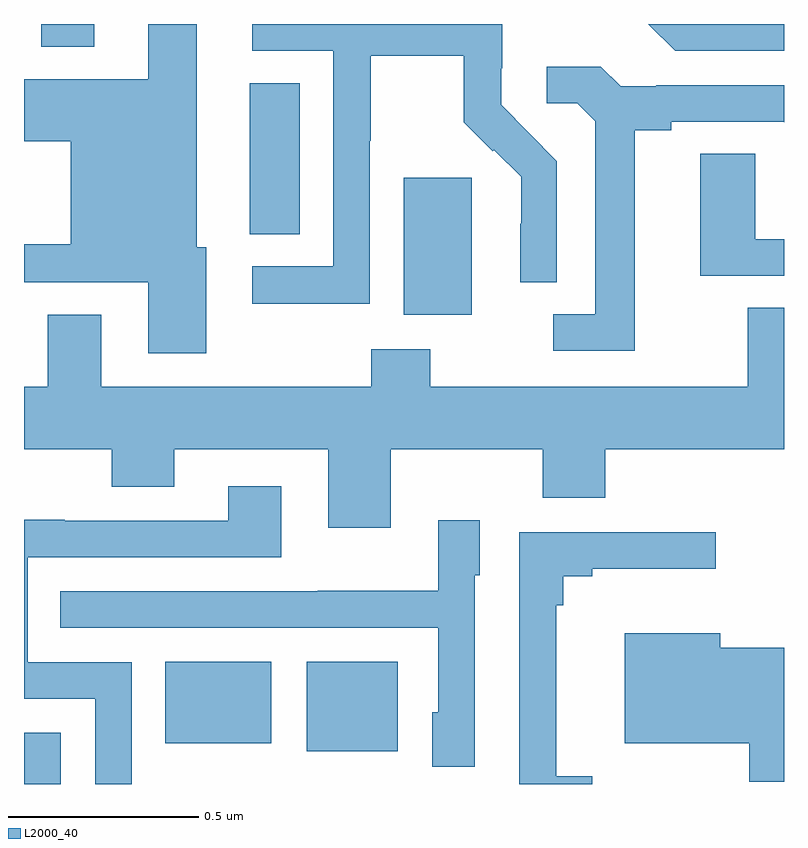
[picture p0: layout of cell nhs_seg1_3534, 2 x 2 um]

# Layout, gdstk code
import gdstk
lib = gdstk.Library(unit=1e-6, precision=1e-09)
def R(c, l, rs):  # rectangles x0, y0, x1, y1
    for r in rs: c.add(gdstk.rectangle(r[:2], r[2:], *l))
def P(c, l, *ps):  # polygons
    for p in ps: c.add(gdstk.Polygon(p, *l))
L2000_40 = (2000, 40)

nhs_seg1_3534 = lib.new_cell('nhs_seg1_3534')
R(nhs_seg1_3534, L2000_40, [(155,536.199,155.097,536.334), (155.744,536.285,155.983,536.521), (155.372,536.306,155.65,536.521), (155.999,537.434,156.178,537.795), (155.594,537.646,155.725,538.043), (155.045,538.139,155.185,538.199)])
P(nhs_seg1_3534, L2000_40, [(155.479,537.612),(155.455,537.612),(155.455,538.199),(155.327,538.199),(155.327,538.054),(155,538.054),(155,537.89),(155.123,537.89),(155.123,537.62),(155,537.62),(155,537.519),(155.327,537.519),(155.327,537.333),(155.479,537.333)],
  [(155.91,537.892),(155.913,537.892),(155.913,538.116),(156.157,538.116),(156.157,537.941),(156.234,537.864),(156.237,537.867),(156.308,537.797),(156.308,537.674),(156.306,537.674),(156.306,537.52),(156.402,537.52),(156.402,537.838),(156.329,537.911),(156.33,537.912),(156.256,537.986),(156.256,538.083),(156.258,538.083),(156.258,538.199),(155.601,538.199),(155.601,538.128),(155.814,538.128),(155.814,537.561),(155.601,537.561),(155.601,537.463),(155.91,537.463)],
  [(157,538.199),(156.643,538.199),(156.714,538.128),(157,538.128)],
  [(156.607,537.92),(156.703,537.92),(156.703,537.942),(156.998,537.942),(157,537.94),(157,538.038),(156.664,538.038),(156.664,538.035),(156.57,538.035),(156.518,538.087),(156.375,538.087),(156.375,537.99),(156.456,537.99),(156.503,537.943),(156.503,537.435),(156.393,537.435),(156.393,537.339),(156.607,537.339)],
  [(157,537.633),(156.924,537.633),(156.924,537.857),(156.779,537.857),(156.779,537.537),(157,537.537)],
  [(155.965,537.08),(156.365,537.08),(156.365,536.952),(156.529,536.952),(156.529,537.08),(157,537.08),(157,537.452),(156.905,537.452),(156.905,537.244),(156.069,537.244),(156.069,537.343),(155.914,537.343),(155.914,537.244),(155.203,537.244),(155.203,537.434),(155.063,537.434),(155.063,537.244),(155,537.244),(155,537.08),(155.231,537.08),(155.231,536.981),(155.395,536.981),(155.395,537.08),(155.801,537.08),(155.801,536.874),(155.965,536.874)],
  [(155.283,536.52),(155.01,536.52),(155.01,536.796),(155.677,536.796),(155.677,536.983),(155.537,536.983),(155.537,536.892),(155.107,536.892),(155.107,536.894),(155,536.894),(155,536.424),(155.187,536.424),(155.187,536.199),(155.283,536.199)],
  [(156.186,536.748),(156.199,536.748),(156.199,536.893),(156.09,536.893),(156.09,536.707),(155.773,536.707),(155.773,536.706),(155.095,536.706),(155.095,536.61),(156.09,536.61),(156.09,536.388),(156.074,536.388),(156.074,536.245),(156.186,536.245)],
  [(156.496,536.219),(156.401,536.219),(156.401,536.669),(156.419,536.669),(156.419,536.746),(156.496,536.746),(156.496,536.765),(156.82,536.765),(156.82,536.862),(156.303,536.862),(156.303,536.199),(156.496,536.199)],
  [(157,536.557),(156.832,536.557),(156.832,536.596),(156.581,536.596),(156.581,536.306),(156.908,536.306),(156.908,536.205),(157,536.205)])

lib.write_gds('nhs_seg1_3534.gds')
